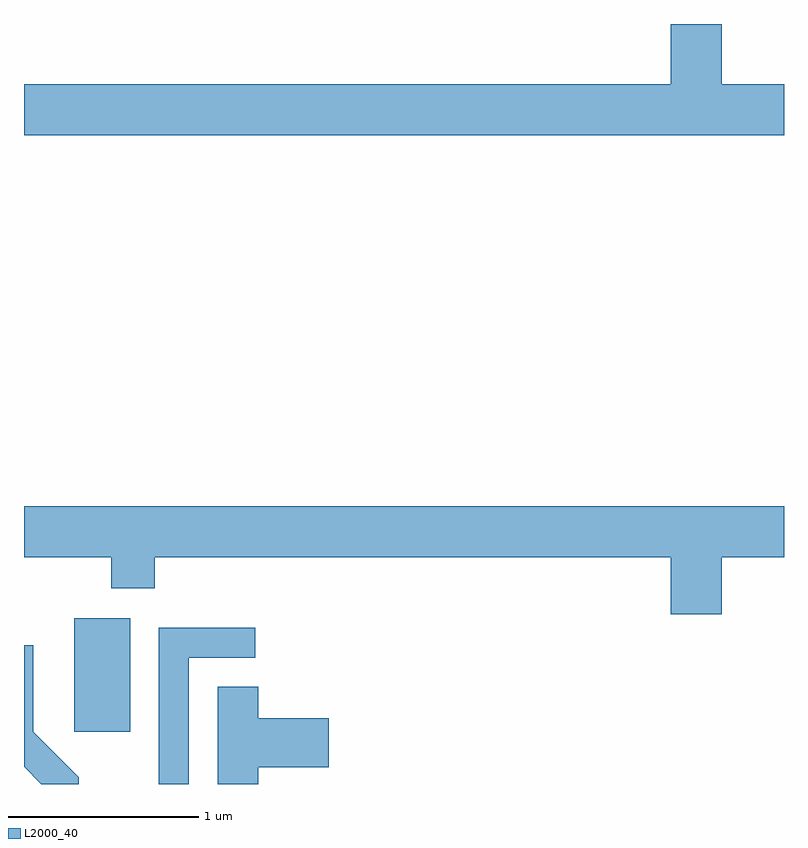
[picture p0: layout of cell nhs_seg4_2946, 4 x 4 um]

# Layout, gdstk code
import gdstk
lib = gdstk.Library(unit=1e-6, precision=1e-09)
def R(c, l, rs):  # rectangles x0, y0, x1, y1
    for r in rs: c.add(gdstk.rectangle(r[:2], r[2:], *l))
def P(c, l, *ps):  # polygons
    for p in ps: c.add(gdstk.Polygon(p, *l))
L2000_40 = (2000, 40)

nhs_seg4_2946 = lib.new_cell('nhs_seg4_2946')
R(nhs_seg4_2946, L2000_40, [(271.876,1298.256,272.169,1298.854)])
P(nhs_seg4_2946, L2000_40, [(275.611,1301.664),(275.284,1301.664),(275.284,1301.982),(275.016,1301.982),(275.016,1301.664),(271.611,1301.664),(271.611,1301.396),(275.611,1301.396)],
  [(275.284,1299.176),(275.611,1299.176),(275.611,1299.444),(271.611,1299.444),(271.611,1299.176),(272.071,1299.176),(272.071,1299.011),(272.299,1299.011),(272.299,1299.176),(275.016,1299.176),(275.016,1298.876),(275.284,1298.876)],
  [(272.479,1298.646),(272.828,1298.646),(272.828,1298.804),(272.321,1298.804),(272.321,1297.982),(272.479,1297.982)],
  [(271.899,1298.017),(271.659,1298.257),(271.659,1298.713),(271.611,1298.713),(271.611,1298.074),(271.703,1297.982),(271.899,1297.982)],
  [(272.844,1298.071),(273.214,1298.071),(273.214,1298.329),(272.844,1298.329),(272.844,1298.494),(272.631,1298.494),(272.631,1297.982),(272.844,1297.982)])

lib.write_gds('nhs_seg4_2946.gds')
